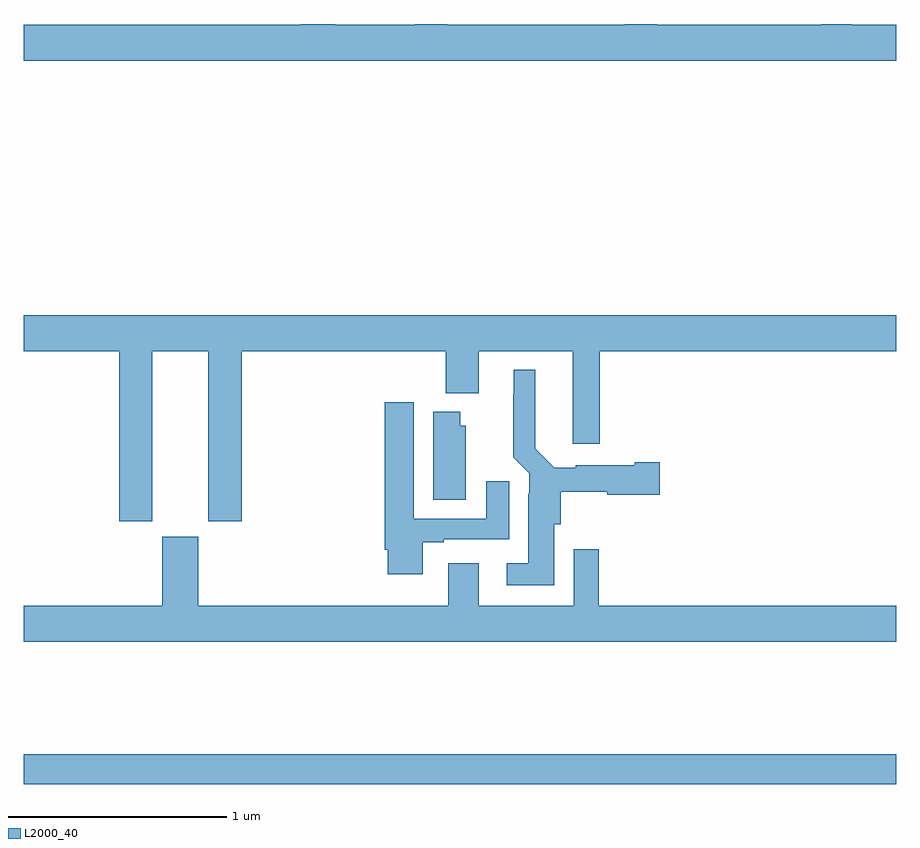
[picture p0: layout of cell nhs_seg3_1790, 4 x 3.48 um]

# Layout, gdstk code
import gdstk
lib = gdstk.Library(unit=1e-6, precision=1e-09)
def R(c, l, rs):  # rectangles x0, y0, x1, y1
    for r in rs: c.add(gdstk.rectangle(r[:2], r[2:], *l))
def P(c, l, *ps):  # polygons
    for p in ps: c.add(gdstk.Polygon(p, *l))
L2000_40 = (2000, 40)

nhs_seg3_1790 = lib.new_cell('nhs_seg3_1790')
R(nhs_seg3_1790, L2000_40, [(203,714.916,207,715.052)])
P(nhs_seg3_1790, L2000_40, [(207,718.396),(206.797,718.396),(206.797,718.4),(206.657,718.4),(206.657,718.396),(205.903,718.396),(205.903,718.4),(205.756,718.4),(205.756,718.396),(204.942,718.396),(204.942,718.4),(204.796,718.4),(204.796,718.396),(204.429,718.396),(204.429,718.4),(204.269,718.4),(204.269,718.396),(203,718.396),(203,718.232),(207,718.232)],
  [(203.59,716.9),(203.846,716.9),(203.846,716.121),(203.999,716.121),(203.999,716.9),(204.935,716.9),(204.935,716.708),(205.087,716.708),(205.087,716.9),(205.517,716.9),(205.517,716.475),(205.64,716.475),(205.64,716.9),(207,716.9),(207,717.064),(203,717.064),(203,716.9),(203.438,716.9),(203.438,716.121),(203.59,716.121)],
  [(205.432,716.106),(205.463,716.106),(205.463,716.255),(205.674,716.255),(205.674,716.243),(205.915,716.243),(205.915,716.39),(205.802,716.39),(205.802,716.377),(205.53,716.377),(205.53,716.365),(205.431,716.365),(205.345,716.452),(205.345,716.815),(205.247,716.815),(205.247,716.705),(205.243,716.705),(205.243,716.414),(205.317,716.34),(205.317,716.246),(205.313,716.246),(205.313,715.927),(205.215,715.927),(205.215,715.826),(205.432,715.826)],
  [(204.829,716.025),(204.925,716.025),(204.925,716.037),(205.225,716.037),(205.225,716.305),(205.121,716.305),(205.121,716.133),(204.787,716.133),(204.787,716.665),(204.656,716.665),(204.656,715.99),(204.668,715.99),(204.668,715.878),(204.829,715.878)],
  [(205.027,716.559),(205,716.559),(205,716.623),(204.878,716.623),(204.878,716.218),(205.027,716.218)],
  [(207,715.732),(205.637,715.732),(205.637,715.993),(205.521,715.993),(205.521,715.732),(205.087,715.732),(205.087,715.927),(204.947,715.927),(204.947,715.732),(203.8,715.732),(203.8,716.049),(203.636,716.049),(203.636,715.732),(203,715.732),(203,715.568),(207,715.568)])

lib.write_gds('nhs_seg3_1790.gds')
